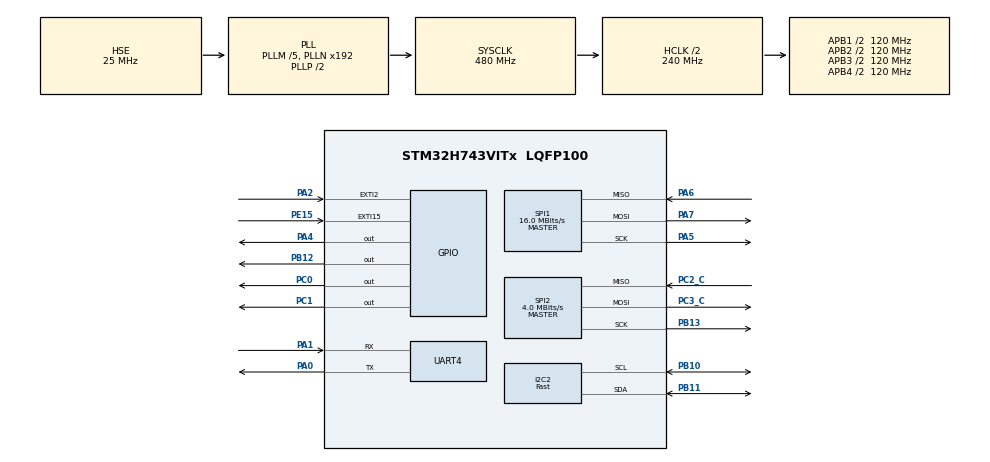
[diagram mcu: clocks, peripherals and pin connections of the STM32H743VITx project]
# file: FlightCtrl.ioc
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CORTEX_M7.CPU_DCache=Enabled
CORTEX_M7.CPU_ICache=Enabled
CORTEX_M7.default_mode_Activation=1
Dma.I2C2_RX.2.Direction=DMA_PERIPH_TO_MEMORY
Dma.I2C2_RX.2.EventEnable=DISABLE
Dma.I2C2_RX.2.FIFOMode=DMA_FIFOMODE_DISABLE
Dma.I2C2_RX.2.Instance=DMA1_Stream2
Dma.I2C2_RX.2.MemDataAlignment=DMA_MDATAALIGN_BYTE
Dma.I2C2_RX.2.MemInc=DMA_MINC_ENABLE
Dma.I2C2_RX.2.Mode=DMA_NORMAL
Dma.I2C2_RX.2.PeriphDataAlignment=DMA_PDATAALIGN_BYTE
Dma.I2C2_RX.2.PeriphInc=DMA_PINC_DISABLE
Dma.I2C2_RX.2.Polarity=HAL_DMAMUX_REQ_GEN_RISING
Dma.I2C2_RX.2.Priority=DMA_PRIORITY_LOW
Dma.I2C2_RX.2.RequestNumber=1
Dma.I2C2_RX.2.SignalID=NONE
Dma.I2C2_RX.2.SyncEnable=DISABLE
Dma.I2C2_RX.2.SyncPolarity=HAL_DMAMUX_SYNC_NO_EVENT
Dma.I2C2_RX.2.SyncRequestNumber=1
Dma.I2C2_RX.2.SyncSignalID=NONE
Dma.I2C2_TX.3.Direction=DMA_MEMORY_TO_PERIPH
Dma.I2C2_TX.3.EventEnable=DISABLE
Dma.I2C2_TX.3.FIFOMode=DMA_FIFOMODE_DISABLE
Dma.I2C2_TX.3.Instance=DMA1_Stream3
Dma.I2C2_TX.3.MemDataAlignment=DMA_MDATAALIGN_BYTE
Dma.I2C2_TX.3.MemInc=DMA_MINC_ENABLE
Dma.I2C2_TX.3.Mode=DMA_NORMAL
Dma.I2C2_TX.3.PeriphDataAlignment=DMA_PDATAALIGN_BYTE
Dma.I2C2_TX.3.PeriphInc=DMA_PINC_DISABLE
Dma.I2C2_TX.3.Polarity=HAL_DMAMUX_REQ_GEN_RISING
Dma.I2C2_TX.3.Priority=DMA_PRIORITY_LOW
Dma.I2C2_TX.3.RequestNumber=1
Dma.I2C2_TX.3.SignalID=NONE
Dma.I2C2_TX.3.SyncEnable=DISABLE
Dma.I2C2_TX.3.SyncPolarity=HAL_DMAMUX_SYNC_NO_EVENT
Dma.I2C2_TX.3.SyncRequestNumber=1
Dma.I2C2_TX.3.SyncSignalID=NONE
Dma.Request0=UART4_RX
Dma.Request1=UART4_TX
Dma.Request2=I2C2_RX
Dma.Request3=I2C2_TX
Dma.Request4=SPI1_RX
Dma.Request5=SPI1_TX
Dma.Request6=SPI2_RX
Dma.Request7=SPI2_TX
Dma.SPI1_RX.4.Direction=DMA_PERIPH_TO_MEMORY
Dma.SPI1_RX.4.EventEnable=DISABLE
Dma.SPI1_RX.4.FIFOMode=DMA_FIFOMODE_DISABLE
Dma.SPI1_RX.4.Instance=DMA1_Stream4
Dma.SPI1_RX.4.MemDataAlignment=DMA_MDATAALIGN_BYTE
Dma.SPI1_RX.4.MemInc=DMA_MINC_ENABLE
Dma.SPI1_RX.4.Mode=DMA_NORMAL
Dma.SPI1_RX.4.PeriphDataAlignment=DMA_PDATAALIGN_BYTE
Dma.SPI1_RX.4.PeriphInc=DMA_PINC_DISABLE
Dma.SPI1_RX.4.Polarity=HAL_DMAMUX_REQ_GEN_RISING
Dma.SPI1_RX.4.Priority=DMA_PRIORITY_LOW
Dma.SPI1_RX.4.RequestNumber=1
Dma.SPI1_RX.4.SignalID=NONE
Dma.SPI1_RX.4.SyncEnable=DISABLE
Dma.SPI1_RX.4.SyncPolarity=HAL_DMAMUX_SYNC_NO_EVENT
Dma.SPI1_RX.4.SyncRequestNumber=1
Dma.SPI1_RX.4.SyncSignalID=NONE
Dma.SPI1_TX.5.Direction=DMA_MEMORY_TO_PERIPH
Dma.SPI1_TX.5.EventEnable=DISABLE
Dma.SPI1_TX.5.FIFOMode=DMA_FIFOMODE_DISABLE
Dma.SPI1_TX.5.Instance=DMA1_Stream5
Dma.SPI1_TX.5.MemDataAlignment=DMA_MDATAALIGN_BYTE
Dma.SPI1_TX.5.MemInc=DMA_MINC_ENABLE
Dma.SPI1_TX.5.Mode=DMA_NORMAL
Dma.SPI1_TX.5.PeriphDataAlignment=DMA_PDATAALIGN_BYTE
Dma.SPI1_TX.5.PeriphInc=DMA_PINC_DISABLE
Dma.SPI1_TX.5.Polarity=HAL_DMAMUX_REQ_GEN_RISING
Dma.SPI1_TX.5.Priority=DMA_PRIORITY_LOW
Dma.SPI1_TX.5.RequestNumber=1
Dma.SPI1_TX.5.SignalID=NONE
Dma.SPI1_TX.5.SyncEnable=DISABLE
Dma.SPI1_TX.5.SyncPolarity=HAL_DMAMUX_SYNC_NO_EVENT
Dma.SPI1_TX.5.SyncRequestNumber=1
Dma.SPI1_TX.5.SyncSignalID=NONE
Dma.SPI2_RX.6.Direction=DMA_PERIPH_TO_MEMORY
Dma.SPI2_RX.6.EventEnable=DISABLE
Dma.SPI2_RX.6.FIFOMode=DMA_FIFOMODE_DISABLE
Dma.SPI2_RX.6.Instance=DMA1_Stream6
Dma.SPI2_RX.6.MemDataAlignment=DMA_MDATAALIGN_BYTE
Dma.SPI2_RX.6.MemInc=DMA_MINC_ENABLE
Dma.SPI2_RX.6.Mode=DMA_NORMAL
Dma.SPI2_RX.6.PeriphDataAlignment=DMA_PDATAALIGN_BYTE
Dma.SPI2_RX.6.PeriphInc=DMA_PINC_DISABLE
Dma.SPI2_RX.6.Polarity=HAL_DMAMUX_REQ_GEN_RISING
Dma.SPI2_RX.6.Priority=DMA_PRIORITY_LOW
Dma.SPI2_RX.6.RequestNumber=1
Dma.SPI2_RX.6.SignalID=NONE
Dma.SPI2_RX.6.SyncEnable=DISABLE
Dma.SPI2_RX.6.SyncPolarity=HAL_DMAMUX_SYNC_NO_EVENT
Dma.SPI2_RX.6.SyncRequestNumber=1
Dma.SPI2_RX.6.SyncSignalID=NONE
Dma.SPI2_TX.7.Direction=DMA_MEMORY_TO_PERIPH
Dma.SPI2_TX.7.EventEnable=DISABLE
Dma.SPI2_TX.7.FIFOMode=DMA_FIFOMODE_DISABLE
Dma.SPI2_TX.7.Instance=DMA1_Stream7
Dma.SPI2_TX.7.MemDataAlignment=DMA_MDATAALIGN_BYTE
Dma.SPI2_TX.7.MemInc=DMA_MINC_ENABLE
Dma.SPI2_TX.7.Mode=DMA_NORMAL
Dma.SPI2_TX.7.PeriphDataAlignment=DMA_PDATAALIGN_BYTE
Dma.SPI2_TX.7.PeriphInc=DMA_PINC_DISABLE
Dma.SPI2_TX.7.Polarity=HAL_DMAMUX_REQ_GEN_RISING
Dma.SPI2_TX.7.Priority=DMA_PRIORITY_LOW
Dma.SPI2_TX.7.RequestNumber=1
Dma.SPI2_TX.7.SignalID=NONE
Dma.SPI2_TX.7.SyncEnable=DISABLE
Dma.SPI2_TX.7.SyncPolarity=HAL_DMAMUX_SYNC_NO_EVENT
Dma.SPI2_TX.7.SyncRequestNumber=1
Dma.SPI2_TX.7.SyncSignalID=NONE
Dma.UART4_RX.0.Direction=DMA_PERIPH_TO_MEMORY
Dma.UART4_RX.0.EventEnable=DISABLE
Dma.UART4_RX.0.FIFOMode=DMA_FIFOMODE_DISABLE
Dma.UART4_RX.0.Instance=DMA1_Stream0
Dma.UART4_RX.0.MemDataAlignment=DMA_MDATAALIGN_BYTE
Dma.UART4_RX.0.MemInc=DMA_MINC_ENABLE
Dma.UART4_RX.0.Mode=DMA_NORMAL
Dma.UART4_RX.0.PeriphDataAlignment=DMA_PDATAALIGN_BYTE
Dma.UART4_RX.0.PeriphInc=DMA_PINC_DISABLE
Dma.UART4_RX.0.Polarity=HAL_DMAMUX_REQ_GEN_RISING
Dma.UART4_RX.0.Priority=DMA_PRIORITY_LOW
Dma.UART4_RX.0.RequestNumber=1
Dma.UART4_RX.0.SignalID=NONE
Dma.UART4_RX.0.SyncEnable=DISABLE
Dma.UART4_RX.0.SyncPolarity=HAL_DMAMUX_SYNC_NO_EVENT
Dma.UART4_RX.0.SyncRequestNumber=1
Dma.UART4_RX.0.SyncSignalID=NONE
Dma.UART4_TX.1.Direction=DMA_MEMORY_TO_PERIPH
Dma.UART4_TX.1.EventEnable=DISABLE
Dma.UART4_TX.1.FIFOMode=DMA_FIFOMODE_DISABLE
Dma.UART4_TX.1.Instance=DMA1_Stream1
Dma.UART4_TX.1.MemDataAlignment=DMA_MDATAALIGN_BYTE
Dma.UART4_TX.1.MemInc=DMA_MINC_ENABLE
Dma.UART4_TX.1.Mode=DMA_NORMAL
Dma.UART4_TX.1.PeriphDataAlignment=DMA_PDATAALIGN_BYTE
Dma.UART4_TX.1.PeriphInc=DMA_PINC_DISABLE
Dma.UART4_TX.1.Polarity=HAL_DMAMUX_REQ_GEN_RISING
Dma.UART4_TX.1.Priority=DMA_PRIORITY_LOW
Dma.UART4_TX.1.RequestNumber=1
Dma.UART4_TX.1.SignalID=NONE
Dma.UART4_TX.1.SyncEnable=DISABLE
Dma.UART4_TX.1.SyncPolarity=HAL_DMAMUX_SYNC_NO_EVENT
Dma.UART4_TX.1.SyncRequestNumber=1
Dma.UART4_TX.1.SyncSignalID=NONE
I2C2.I2C_Speed_Mode=I2C_Fast
I2C2.Timing=0x00B03FDB
Mcu.Family=STM32H7
Mcu.Name=STM32H743VITx
Mcu.Package=LQFP100
NVIC.DMA1_Stream0_IRQn=true\:0\:0\:false\:false\:true\:false\:true\:true
NVIC.DMA1_Stream1_IRQn=true\:0\:0\:false\:false\:true\:false\:true\:true
NVIC.DMA1_Stream2_IRQn=true\:0\:0\:false\:false\:true\:false\:true\:true
NVIC.DMA1_Stream3_IRQn=true\:0\:0\:false\:false\:true\:false\:true\:true
NVIC.DMA1_Stream4_IRQn=true\:0\:0\:false\:false\:true\:false\:true\:true
NVIC.DMA1_Stream5_IRQn=true\:0\:0\:false\:false\:true\:false\:true\:true
NVIC.DMA1_Stream6_IRQn=true\:0\:0\:false\:false\:true\:false\:true\:true
NVIC.DMA1_Stream7_IRQn=true\:0\:0\:false\:false\:true\:false\:true\:true
NVIC.EXTI15_10_IRQn=true\:2\:0\:true\:false\:true\:true\:true\:true
NVIC.EXTI2_IRQn=true\:1\:0\:true\:false\:true\:true\:true\:true
NVIC.I2C2_EV_IRQn=true\:3\:0\:true\:false\:true\:true\:true\:true
NVIC.PriorityGroup=NVIC_PRIORITYGROUP_4
NVIC.SPI1_IRQn=true\:5\:0\:true\:false\:true\:true\:true\:true
NVIC.SPI2_IRQn=true\:0\:0\:false\:false\:true\:false\:true\:true
NVIC.TIM2_IRQn=true\:6\:0\:true\:false\:true\:true\:true\:true
NVIC.TIM3_IRQn=true\:0\:0\:true\:false\:true\:true\:true\:true
NVIC.UART4_IRQn=true\:4\:0\:true\:false\:true\:true\:true\:true
PA0.Mode=Asynchronous
PA0.Signal=UART4_TX
PA1.Mode=Asynchronous
PA1.Signal=UART4_RX
PA2.Signal=GPXTI2
PA4.GPIO_PuPd=GPIO_PULLDOWN
PA4.Signal=GPIO_Output
PA5.Mode=Full_Duplex_Master
PA5.Signal=SPI1_SCK
PA6.Mode=Full_Duplex_Master
PA6.Signal=SPI1_MISO
PA7.Mode=Full_Duplex_Master
PA7.Signal=SPI1_MOSI
PB10.GPIO_Pu=GPIO_PULLUP
PB10.Mode=I2C
PB10.Signal=I2C2_SCL
PB11.GPIO_Pu=GPIO_PULLUP
PB11.Mode=I2C
PB11.Signal=I2C2_SDA
PB12.GPIO_PuPd=GPIO_PULLUP
PB12.Signal=GPIO_Output
PB13.Mode=Full_Duplex_Master
PB13.Signal=SPI2_SCK
PC0.Signal=GPIO_Output
PC1.Signal=GPIO_Output
PC2_C.Mode=Full_Duplex_Master
PC2_C.Signal=SPI2_MISO
PC3_C.Mode=Full_Duplex_Master
PC3_C.Signal=SPI2_MOSI
PE15.Signal=GPXTI15
PH0-OSC_IN\ (PH0).Mode=HSE-External-Oscillator
PH0-OSC_IN\ (PH0).Signal=RCC_OSC_IN
PH1-OSC_OUT\ (PH1).Mode=HSE-External-Oscillator
PH1-OSC_OUT\ (PH1).Signal=RCC_OSC_OUT
ProjectManager.HeapSize=0x2000
ProjectManager.StackSize=0x4000
ProjectManager.TargetToolchain=CMake
RCC.ADCFreq_Value=50390625
RCC.APB1Freq_Value=120000000
RCC.APB2Freq_Value=120000000
RCC.APB3Freq_Value=120000000
RCC.APB4Freq_Value=120000000
RCC.CortexFreq_Value=480000000
RCC.D1PPRE=RCC_APB3_DIV2
RCC.D2PPRE1=RCC_APB1_DIV2
RCC.D2PPRE2=RCC_APB2_DIV2
RCC.D3PPRE=RCC_APB4_DIV2
RCC.DIVM1=5
RCC.DIVN1=192
RCC.HCLKFreq_Value=240000000
RCC.HPRE=RCC_HCLK_DIV2
RCC.PLLSourceVirtual=RCC_PLLSOURCE_HSE
RCC.SPI123CLockSelection=RCC_SPI123CLKSOURCE_CLKP
RCC.SYSCLKFreq_VALUE=480000000
RCC.SYSCLKSource=RCC_SYSCLKSOURCE_PLLCLK
RCC.USBFreq_Value=480000000
SPI1.BaudRatePrescaler=SPI_BAUDRATEPRESCALER_4
SPI1.CLKPhase=SPI_PHASE_2EDGE
SPI1.CLKPolarity=SPI_POLARITY_HIGH
SPI1.CalculateBaudRate=16.0 MBits/s
SPI1.DataSize=SPI_DATASIZE_8BIT
SPI1.Direction=SPI_DIRECTION_2LINES
SPI1.Mode=SPI_MODE_MASTER
SPI1.VirtualType=VM_MASTER
SPI2.BaudRatePrescaler=SPI_BAUDRATEPRESCALER_16
SPI2.CalculateBaudRate=4.0 MBits/s
SPI2.DataSize=SPI_DATASIZE_8BIT
SPI2.Direction=SPI_DIRECTION_2LINES
SPI2.Mode=SPI_MODE_MASTER
SPI2.VirtualType=VM_MASTER
TIM2.Period=4
TIM3.Period=1000
TIM3.Prescaler=239
TIM3.TIM_MasterOutputTrigger=TIM_TRGO_UPDATE
TIM5.Period=0xFFFFFFFF
TIM5.Prescaler=239
VP_MEMORYMAP_VS_MEMORYMAP.Mode=CurAppReg
VP_TIM2_VS_ClockSourceITR.Mode=TriggerSource_ITR2
VP_TIM2_VS_ControllerModeClock.Mode=Clock Mode
VP_TIM3_VS_ClockSourceINT.Mode=Internal
VP_TIM5_VS_ClockSourceINT.Mode=Internal
board=custom

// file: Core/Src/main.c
/* USER CODE BEGIN Header */
/**
  ******************************************************************************
  * @file           : main.c
  * @brief          : Main program body
  ******************************************************************************
  * @attention
  *
  * Copyright (c) 2026 STMicroelectronics.
  * All rights reserved.
  *
  * This software is licensed under terms that can be found in the LICENSE file
  * in the root directory of this software component.
  * If no LICENSE file comes with this software, it is provided AS-IS.
  *
  ******************************************************************************
  */
/* USER CODE END Header */
#include "main.h"
#include "dma.h"
#include "i2c.h"
#include "spi.h"
#include "tim.h"
#include "usart.h"
#include "gpio.h"

/* USER CODE BEGIN Includes */
#include <string.h>
#include "ESKF.h"
/* USER CODE END Includes */

/* USER CODE BEGIN PTD */
typedef struct {
  float gyro_x;
  float gyro_y;
  float gyro_z;
  float accel_x;
  float accel_y;
  float accel_z;
  uint32_t timestamp;
}imu_data_t;

typedef struct{
  imu_data_t data[50];
  uint8_t write_idx;
}imu_buf_t;

#pragma pack(push, 1)   // 关键：1 字节对齐，禁止编译器插 padding

typedef struct
{
  uint32_t iTOW;      // [ms] GPS 时间周内秒
  uint16_t year;      // 年，如 2026
  uint8_t  month;     // 月 1..12
  uint8_t  day;       // 日 1..31
  uint8_t  hour;      // 时 0..23
  uint8_t  min;       // 分 0..59
  uint8_t  sec;       // 秒 0..60
  uint8_t  valid;     // 有效性标志
  uint32_t tAcc;      // [ns] 时间精度

  int32_t  nano;      // [ns] 纳秒部分（-1e9..+1e9）

  uint8_t  fixType;   // 定位类型：0=无，3=3D，4=GNSS+DR
  uint8_t  flags;     // 定位标志
  uint8_t  flags2;
  uint8_t  numSV;     // 使用卫星数

  int32_t  lon;       // [1e-7 °] 经度
  int32_t  lat;       // [1e-7 °] 纬度
  int32_t  height;    // [mm] 椭球高
  int32_t  hMSL;      // [mm] 海拔高

  uint32_t hAcc;      // [mm] 水平精度
  uint32_t vAcc;      // [mm] 垂直精度

  int32_t  velN;      // [mm/s] 北向速度
  int32_t  velE;      // [mm/s] 东向速度
  int32_t  velD;      // [mm/s] 地向速度（向下为正）
  int32_t  gSpeed;    // [mm/s] 地面速率

  int32_t  headMot;   // [1e-5 °] 运动航向
  uint32_t sAcc;      // [mm/s] 速度精度

  uint32_t headAcc;   // [1e-5 °] 航向精度
  uint16_t pDOP;      // [0.01] 位置 DOP

  uint8_t  reserved1[6];

  int32_t  headVeh;   // [1e-5 °] 车头方向（仅车载模式）
  int16_t  magDec;    // [0.01 °] 磁偏角
  uint16_t magAcc;    // [0.01 °] 磁偏角精度
} UBX_NAV_PVT_t;

#pragma pack(pop)

typedef struct {
  float mag_x;
  float mag_y;
  float mag_z;
  uint32_t timestamp;
}mag_data_t;

typedef struct {
  float prop1;
  float prop2;
  float prop3;
  float prop4;
}prop_speed_cmd_t;

typedef struct {
  float x;
  float y;
  float z;
}omega_cmd_t;

typedef struct {
  int32_t pressure;
  uint32_t timestamp;
}baro_data_t;

typedef struct {
  baro_data_t data[50];
  uint8_t write_idx;
}baro_buf_t;

typedef struct {
  mag_data_t data[50];
  uint8_t write_idx;
}mag_buf_t;
/* USER CODE END PTD */

/* USER CODE BEGIN PM */
#define ICM45686_CS_PORT GPIOA
#define ICM45686_CS_PIN GPIO_PIN_4
#define ICM_REG_WHO_AM_I        0x72                          //dv
#define ICM_WHOAMI_VALUE        0xE9                          //dv
#define ICM_REG_MISC2           0x7F                          //dv
#define ICM_RESET               0x02                          //???
#define ICM_REG_ACCEL_CONFIG    0x1B                          //dv
#define ICM_REG_PWR_MGMT0       0x10                          //dv
#define ICM_REG_GYRO_CONFIG0    0x1C                          //dv
#define ICM_REG_ACCEL_X_UPPER   0x00                          //dv
#define ICM_SREG_CTRL           0x67                          //dv

#define GYRO_UI_FS_SEL_4000DPS  0x00                          //dv
#define GYRO_UI_FS_SEL_2000DPS  0x01                          //dv
#define GYRO_UI_FS_SEL_1000DPS  0x02                          //dv
#define GYRO_UI_FS_SEL_500DPS   0x03                          //dv
#define GYRO_UI_FS_SEL_250DPS   0x04                          //dv
#define GYRO_UI_FS_SEL_125DPS   0x05                          //dv
#define GYRO_ODR_6400Hz         0x03                          //dv
#define GYRO_ODR_3200Hz         0x04                          //dv
#define GYRO_ODR_1600Hz         0x05                          //dv
#define GYRO_ODR_800Hz          0x06                          //dv
#define GYRO_ODR_400Hz          0x07                          //dv
#define GYRO_ODR_200Hz          0x08                          //dv
#define GYRO_ODR_100Hz          0x09                          //dv
#define GYRO_ODR_50Hz           0x0A                          //dv
#define GYRO_ODR_25Hz           0x0B                          //dv
#define GYRO_ODR_12_5Hz         0x0C                          //dv
#define GYRO_ODR_6_25Hz         0x0D                          //dv

#define ACCEL_UI_FS_SEL_32G     0x00                          //dv
#define ACCEL_UI_FS_SEL_16G     0x01                          //dv
#define ACCEL_UI_FS_SEL_8G      0x02                          //dv
#define ACCEL_UI_FS_SEL_4G      0x03                          //dv
#define ACCEL_UI_FS_SEL_2G      0x04                          //dv
#define ACCEL_ODR_6400Hz        0x03                          //dv
#define ACCEL_ODR_3200Hz        0x04                          //dv
#define ACCEL_ODR_1600Hz        0x05                          //dv
#define ACCEL_ODR_800Hz         0x06                          //dv
#define ACCEL_ODR_400Hz         0x07                          //dv
#define ACCEL_ODR_200Hz         0x08                          //dv
#define ACCEL_ODR_100Hz         0x09                          //dv
#define ACCEL_ODR_50Hz          0x0A                          //dv
#define ACCEL_ODR_25Hz          0x0B                          //dv
#define ACCEL_ODR_12_5Hz        0x0C                          //dv

#define IST_DEV_ADDR            0x0E                          //dv
#define IST_WHO_AM_I_ADDR       0x00                          //dv
#define IST_CHIP_ID             0x10                          //dv
#define IST_REG_CNTRL1          0x0A                          //dv
#define IST_REG_CNTRL2          0x0B                          //dv
#define IST_MAG_X_LOW           0x03                          //dv

#define BMP581_CHIP_ID_ADDR     0x01                          //dv
#define BMP581_CHIP_ID          0x50                          //dv
#define BMP581_STATUS           0x28                          //dv
#define BMP581_OSR_CONFIG       0x36                          //dv
#define BMP581_ODR_CONFIG       0x37                          //dv
#define BMP581_CMD              0x7E                          //dv
#define BMP581_RESET            0xB6                          //dv
#define BMP581_INT_SOURCE       0x15                          //dv
#define BMP581_INT_CONFIG       0x14                          //dv
#define BMP581_PRESSURE_XLSB    0x20                          //dv
#define BMP581_INT_MOD_PULSE    0x00                          //dv
#define BMP581_INT_MOD_LATCH    0x01                          //dv
#define BMP581_INT_POL_LOW      0x00                          //dv
#define BMP581_INT_POL_HIGH     0x01                          //dv
#define BMP581_INT_STATUS       0x27                          //dv

#define MAG_BUF_LEN             0x32                          //dv
#define GPS_BUF_LEN             0x03                          //dv
#define IMU_BUF_LEN             0x32                          //dv
#define BARO_BUF_LEN            0x32                          //dv
/* USER CODE END PM */

/* USER CODE BEGIN PV */
imu_buf_t imu_buf;
baro_buf_t baro_buf;
mag_buf_t mag_buf;
UBX_NAV_PVT_t pvt[GPS_BUF_LEN] = {0};
uint8_t uart4_rx_data_dma[512] __attribute__((section(".dma_buffer")));
uint8_t temp2 = 0;
uint8_t temp3 = 0;
uint8_t temp4 = 0;
uint8_t IST_Init_ret = 0;
uint8_t i2c2_tx_data_dma __attribute__((section(".dma_buffer"))) = {0};
uint8_t i2c2_rx_data_dma[6] __attribute__((section(".dma_buffer"))) = {0};
uint8_t spi1_tx_data_dma[13] __attribute__((section(".dma_buffer")))= {0};
uint8_t spi1_rx_data_dma[13] __attribute__((section(".dma_buffer")))= {0};
uint8_t spi2_tx_data_dma[4] __attribute__((section(".dma_buffer")))= {0};
uint8_t spi2_rx_data_dma[4] __attribute__((section(".dma_buffer")))= {0};
prop_speed_cmd_t prop_speed_cmd = {0};
omega_cmd_t omega_cmd = {0};
uint32_t gps_timestamp = 0;
/* USER CODE END PV */

void SystemClock_Config(void);
void PeriphCommonClock_Config(void);
static void MPU_Config(void);
/* USER CODE BEGIN PFP */
uint8_t ICM45686_ReadReg(uint8_t addr, uint8_t *val);
uint8_t ICM45686_WriteReg(uint8_t addr, uint8_t val);
uint8_t ICM45686_Init(void);
uint8_t IST8310_Init(void);
uint8_t BMP581_Init(void);
void omega_ctrl(omega_cmd_t* omega_cmd,prop_speed_cmd_t* p);
uint8_t BMP581_ReadReg(uint8_t reg_addr,uint8_t* reg_data);
uint8_t BMP581_WriteReg(uint8_t reg_addr,uint8_t reg_data);

/* USER CODE END PFP */

int main(void)
{

  /* MPU Configuration--------------------------------------------------------*/
  MPU_Config();

  /* Enable the CPU Cache */

  /* Enable I-Cache---------------------------------------------------------*/
  SCB_EnableICache();

  /* Enable D-Cache---------------------------------------------------------*/
  SCB_EnableDCache();

  /* MCU Configuration--------------------------------------------------------*/

  /* Reset of all peripherals, Initializes the Flash interface and the Systick. */
  HAL_Init();

  /* Configure the system clock */
  SystemClock_Config();

  /* Configure the peripherals common clocks */
  PeriphCommonClock_Config();

  /* Initialize all configured peripherals */
  MX_GPIO_Init();
  MX_DMA_Init();
  MX_SPI1_Init();
  MX_UART4_Init();
  MX_I2C2_Init();
  MX_TIM5_Init();
  MX_TIM3_Init();
  MX_TIM2_Init();
  MX_SPI2_Init();
  /* USER CODE BEGIN 2 */
  ICM45686_Init();
  IST_Init_ret = IST8310_Init();
  BMP581_Init();
  HAL_Delay(1000);
  HAL_TIM_Base_Start(&htim5);
  HAL_TIM_Base_Start_IT(&htim3);
  HAL_TIM_Base_Start_IT(&htim2);
  HAL_UARTEx_ReceiveToIdle_DMA(&huart4,uart4_rx_data_dma,512);

  /* USER CODE END 2 */

  /* Infinite loop */
  while (1)
  {

  }
}

void SystemClock_Config(void)
{
  RCC_OscInitTypeDef RCC_OscInitStruct = {0};
  RCC_ClkInitTypeDef RCC_ClkInitStruct = {0};

  /** Supply configuration update enable
  */
  HAL_PWREx_ConfigSupply(PWR_LDO_SUPPLY);

  /** Configure the main internal regulator output voltage
  */
  __HAL_PWR_VOLTAGESCALING_CONFIG(PWR_REGULATOR_VOLTAGE_SCALE0);

  while(!__HAL_PWR_GET_FLAG(PWR_FLAG_VOSRDY)) {}

  /** Initializes the RCC Oscillators according to the specified parameters
  * in the RCC_OscInitTypeDef structure.
  */
  RCC_OscInitStruct.OscillatorType = RCC_OSCILLATORTYPE_HSI|RCC_OSCILLATORTYPE_HSE;
  RCC_OscInitStruct.HSEState = RCC_HSE_ON;
  RCC_OscInitStruct.HSIState = RCC_HSI_DIV1;
  RCC_OscInitStruct.HSICalibrationValue = RCC_HSICALIBRATION_DEFAULT;
  RCC_OscInitStruct.PLL.PLLState = RCC_PLL_ON;
  RCC_OscInitStruct.PLL.PLLSource = RCC_PLLSOURCE_HSE;
  RCC_OscInitStruct.PLL.PLLM = 5;
  RCC_OscInitStruct.PLL.PLLN = 192;
  RCC_OscInitStruct.PLL.PLLP = 2;
  RCC_OscInitStruct.PLL.PLLQ = 2;
  RCC_OscInitStruct.PLL.PLLR = 2;
  RCC_OscInitStruct.PLL.PLLRGE = RCC_PLL1VCIRANGE_2;
  RCC_OscInitStruct.PLL.PLLVCOSEL = RCC_PLL1VCOWIDE;
  RCC_OscInitStruct.PLL.PLLFRACN = 0;
  if (HAL_RCC_OscConfig(&RCC_OscInitStruct) != HAL_OK)
  {
    Error_Handler();
  }

  /** Initializes the CPU, AHB and APB buses clocks
  */
  RCC_ClkInitStruct.ClockType = RCC_CLOCKTYPE_HCLK|RCC_CLOCKTYPE_SYSCLK
                              |RCC_CLOCKTYPE_PCLK1|RCC_CLOCKTYPE_PCLK2
                              |RCC_CLOCKTYPE_D3PCLK1|RCC_CLOCKTYPE_D1PCLK1;
  RCC_ClkInitStruct.SYSCLKSource = RCC_SYSCLKSOURCE_PLLCLK;
  RCC_ClkInitStruct.SYSCLKDivider = RCC_SYSCLK_DIV1;
  RCC_ClkInitStruct.AHBCLKDivider = RCC_HCLK_DIV2;
  RCC_ClkInitStruct.APB3CLKDivider = RCC_APB3_DIV2;
  RCC_ClkInitStruct.APB1CLKDivider = RCC_APB1_DIV2;
  RCC_ClkInitStruct.APB2CLKDivider = RCC_APB2_DIV2;
  RCC_ClkInitStruct.APB4CLKDivider = RCC_APB4_DIV2;

  if (HAL_RCC_ClockConfig(&RCC_ClkInitStruct, FLASH_LATENCY_4) != HAL_OK)
  {
    Error_Handler();
  }
}

void PeriphCommonClock_Config(void)
{
  RCC_PeriphCLKInitTypeDef PeriphClkInitStruct = {0};

  /** Initializes the peripherals clock
  */
  PeriphClkInitStruct.PeriphClockSelection = RCC_PERIPHCLK_CKPER;
  PeriphClkInitStruct.CkperClockSelection = RCC_CLKPSOURCE_HSI;
  if (HAL_RCCEx_PeriphCLKConfig(&PeriphClkInitStruct) != HAL_OK)
  {
    Error_Handler();
  }
}

/* USER CODE BEGIN 4 */
void HAL_TIM_PeriodElapsedCallback(TIM_HandleTypeDef *htim)
{
  if (htim->Instance == TIM3)
  {
    /// 读取IMU数据
    spi1_tx_data_dma[0] = ICM_REG_ACCEL_X_UPPER | 0x80;
    imu_buf.data[imu_buf.write_idx].timestamp = __HAL_TIM_GET_COUNTER(&htim5);
    HAL_GPIO_WritePin(ICM45686_CS_PORT,ICM45686_CS_PIN,GPIO_PIN_RESET);
    HAL_SPI_TransmitReceive_DMA(&hspi1, spi1_tx_data_dma, spi1_rx_data_dma, 13);

    // 读取气压计数据
    baro_buf.data[baro_buf.write_idx].timestamp = __HAL_TIM_GET_COUNTER(&htim5);
    spi2_tx_data_dma[0] = BMP581_PRESSURE_XLSB | 0x80;
    HAL_GPIO_WritePin(GPIOB, GPIO_PIN_12, GPIO_PIN_RESET);
    HAL_SPI_TransmitReceive_DMA(&hspi2, spi2_tx_data_dma, spi2_rx_data_dma, 4);
  }
  if (htim->Instance == TIM2)
  {
    //todo:ESKF()
    HAL_GPIO_WritePin(GPIOC, GPIO_PIN_0, GPIO_PIN_SET);
    static float meas[9];
    static float imu[6];
    eskf(meas, imu);
    HAL_GPIO_WritePin(GPIOC, GPIO_PIN_0, GPIO_PIN_RESET);
  }
}

void HAL_SPI_TxRxCpltCallback(SPI_HandleTypeDef *hspi)
{
  if (hspi->Instance == SPI1)
  {
    HAL_GPIO_WritePin(ICM45686_CS_PORT,ICM45686_CS_PIN,GPIO_PIN_SET);
    imu_buf.data[imu_buf.write_idx].accel_x = (int16_t)(spi1_rx_data_dma[2]<<8 | spi1_rx_data_dma[1])/4096.f;
    imu_buf.data[imu_buf.write_idx].accel_y = (int16_t)(spi1_rx_data_dma[4]<<8 | spi1_rx_data_dma[3])/4096.f;
    imu_buf.data[imu_buf.write_idx].accel_z = (int16_t)(spi1_rx_data_dma[6]<<8 | spi1_rx_data_dma[5])/4096.f;
    imu_buf.data[imu_buf.write_idx].gyro_x = (int16_t)(spi1_rx_data_dma[8]<<8 | spi1_rx_data_dma[7])/32768.f*2000.f/180.f*M_PI;
    imu_buf.data[imu_buf.write_idx].gyro_y = (int16_t)(spi1_rx_data_dma[10]<<8 | spi1_rx_data_dma[9])/32768.f*2000.f/180.f*M_PI;
    imu_buf.data[imu_buf.write_idx].gyro_z = (int16_t)(spi1_rx_data_dma[12]<<8 | spi1_rx_data_dma[11])/32768.f*2000.f/180.f*M_PI;
    imu_buf.write_idx = (imu_buf.write_idx + 1)%IMU_BUF_LEN;

    omega_ctrl(&omega_cmd,&prop_speed_cmd);
  }
  if (hspi->Instance == SPI2) {
    HAL_GPIO_WritePin(GPIOB, GPIO_PIN_12, GPIO_PIN_SET);
    baro_buf.data[baro_buf.write_idx].pressure = spi2_rx_data_dma[3]<<16 | spi2_rx_data_dma[2]<<8 | spi2_rx_data_dma[1];
    if (baro_buf.data[baro_buf.write_idx].pressure & 0x800000) {
      baro_buf.data[baro_buf.write_idx].pressure |= 0xFF000000;
    }
    baro_buf.write_idx = (baro_buf.write_idx + 1)%BARO_BUF_LEN;
  }
}

uint8_t ICM45686_Init(void)
{
  uint8_t reg_val = 0;                                                                             //dv
  if (ICM45686_ReadReg(ICM_REG_WHO_AM_I, &reg_val) != 0 || reg_val != ICM_WHOAMI_VALUE)       //dv
    return 1;                                                                                      //dv
  ICM45686_WriteReg(ICM_REG_MISC2, ICM_RESET);                                            //dv
  do {                                                                                             //dv
    if (ICM45686_ReadReg(ICM_REG_MISC2, &reg_val) != 0)                                       //dv
      return 1;                                                                                    //dv
  } while (reg_val & 0x02);                                                                        //dv
  // ICM45686_WriteReg(ICM_REG_PWR_MGMT_1, ICM_CLOCK_AUTO);                                        //???
  HAL_Delay(30);

  ICM45686_WriteReg(ICM_REG_PWR_MGMT0,0x0F);
  HAL_Delay(30);

  ICM45686_WriteReg(ICM_REG_ACCEL_CONFIG, (uint8_t)(ACCEL_UI_FS_SEL_8G << 4 | ACCEL_ODR_6400Hz));
  HAL_Delay(30);

  ICM45686_WriteReg(ICM_REG_GYRO_CONFIG0,(uint8_t)(GYRO_UI_FS_SEL_2000DPS << 4 | GYRO_ODR_6400Hz));

  return 0;                                                                                        //dv
}

uint8_t ICM45686_ReadReg(uint8_t addr, uint8_t *val)  //dv
{
  uint8_t tx_buf[2];                                  //dv
  uint8_t rx_buf[2];                                  //dv
  tx_buf[0] = addr | 0x80;                            //dv
  tx_buf[1] = 0x00;                                   //dv
  HAL_GPIO_WritePin(ICM45686_CS_PORT,ICM45686_CS_PIN,GPIO_PIN_RESET);                       //dv
  if (HAL_SPI_TransmitReceive(&hspi1, tx_buf, rx_buf, 2, HAL_MAX_DELAY) != HAL_OK)      //dv
  {
    HAL_GPIO_WritePin(ICM45686_CS_PORT,ICM45686_CS_PIN,GPIO_PIN_SET);                       //dv
    return 1;                                                                                       //dv
  }
  HAL_GPIO_WritePin(ICM45686_CS_PORT,ICM45686_CS_PIN,GPIO_PIN_SET);                         //dv
  *val = rx_buf[1];                                                                                 //dv
  return 0;                                                                                         //dv
}

uint8_t ICM45686_WriteReg(uint8_t addr, uint8_t val)                              //dv
{
  uint8_t tx_buf[2] = { addr & 0x7F, val };                                       //dv
  uint8_t rx_buf[2];                                                              //dv

  HAL_GPIO_WritePin(ICM45686_CS_PORT,ICM45686_CS_PIN,GPIO_PIN_RESET);     //dv
  if(HAL_SPI_TransmitReceive(&hspi1, tx_buf, rx_buf, 2, HAL_MAX_DELAY) != HAL_OK)
  {
    HAL_GPIO_WritePin(ICM45686_CS_PORT,ICM45686_CS_PIN,GPIO_PIN_SET);       //dv
    return 1;
  }
  HAL_GPIO_WritePin(ICM45686_CS_PORT,ICM45686_CS_PIN,GPIO_PIN_SET);       //dv
  return 0;
}

void HAL_UARTEx_RxEventCallback(UART_HandleTypeDef *huart, uint16_t Size)
{
  if(huart->Instance == UART4)
  {
    // HAL_GPIO_WritePin(GPIOC, GPIO_PIN_0,GPIO_PIN_SET);
    if (uart4_rx_data_dma[0] == 0xB5 && uart4_rx_data_dma[1] == 0x62)
    {
      if (uart4_rx_data_dma[2] == 0x01 && uart4_rx_data_dma[3] == 0x07)
      {
        memcpy(&(pvt[0]), &uart4_rx_data_dma[6], sizeof(UBX_NAV_PVT_t));
      }
    }
    // HAL_GPIO_WritePin(GPIOC, GPIO_PIN_0,GPIO_PIN_RESET);
    HAL_UARTEx_ReceiveToIdle_DMA(&huart4,uart4_rx_data_dma,512);
  }
}

void HAL_UART_ErrorCallback(UART_HandleTypeDef *huart)
{
  if(huart->Instance == UART4)
  {
    // uint32_t err = HAL_UART_GetError(huart);

    HAL_UART_DMAStop(huart);
    __HAL_UART_CLEAR_FLAG(huart, UART_CLEAR_OREF | UART_CLEAR_NEF | UART_CLEAR_FEF | UART_CLEAR_PEF);

    // 复位 HAL 库内部的串口状态（非常重要！否则库会一直认为串口处于 BUSY 状态）
    huart->ErrorCode = HAL_UART_ERROR_NONE;
    huart->gState = HAL_UART_STATE_READY;
    huart->RxState = HAL_UART_STATE_READY;

    HAL_UARTEx_ReceiveToIdle_DMA(&huart4,uart4_rx_data_dma,512);
  }
}

uint8_t IST8310_Init(void)
{
  uint8_t reg_val = 0;
  if (HAL_I2C_Mem_Read(&hi2c2,IST_DEV_ADDR << 1,IST_WHO_AM_I_ADDR,\
    I2C_MEMADD_SIZE_8BIT,&reg_val,1,1000) != HAL_OK)
  {
    return 1;
  }
  else
  {
    if (reg_val != IST_CHIP_ID)
      return 2;
    else {
      reg_val = 0x01;
      HAL_I2C_Mem_Write(&hi2c2,IST_DEV_ADDR << 1,IST_REG_CNTRL1,\
        I2C_MEMADD_SIZE_8BIT,&reg_val,1,1000);

      return 0;
    }
  }
}

void HAL_GPIO_EXTI_Callback(uint16_t GPIO_Pin)
{
  if (GPIO_Pin == GPIO_PIN_15)
  {
    mag_buf.data[mag_buf.write_idx].timestamp = __HAL_TIM_GET_COUNTER(&htim5);
    HAL_I2C_Mem_Read_DMA(&hi2c2,IST_DEV_ADDR << 1,IST_MAG_X_LOW,\
    I2C_MEMADD_SIZE_8BIT,i2c2_rx_data_dma,6);
  }

  if (GPIO_Pin == GPIO_PIN_2)
  {
    gps_timestamp = __HAL_TIM_GET_COUNTER(&htim5);
  }
}

void HAL_I2C_MemRxCpltCallback(I2C_HandleTypeDef *hi2c)
{
  if (hi2c->Instance == I2C2)
  {
    i2c2_tx_data_dma = 0x01;
    HAL_I2C_Mem_Write_DMA(&hi2c2,IST_DEV_ADDR << 1,IST_REG_CNTRL1,\
      I2C_MEMADD_SIZE_8BIT,&i2c2_tx_data_dma,1);

    mag_buf.data[mag_buf.write_idx].mag_x = ((int16_t)(i2c2_rx_data_dma[1]<<8 | i2c2_rx_data_dma[0]));
    mag_buf.data[mag_buf.write_idx].mag_y = ((int16_t)(i2c2_rx_data_dma[3]<<8 | i2c2_rx_data_dma[2]));
    mag_buf.data[mag_buf.write_idx].mag_z = -((int16_t)(i2c2_rx_data_dma[5]<<8 | i2c2_rx_data_dma[4]));
    mag_buf.write_idx = (mag_buf.write_idx + 1)%MAG_BUF_LEN;
  }
}

void omega_ctrl(omega_cmd_t* omega_cmd,prop_speed_cmd_t* p)
{
  // todo:由机身角速度指令计算螺旋桨指令
  p->prop1 = 0;
  p->prop2 = 0;
  p->prop3 = 0;
  p->prop4 = 0;
}

uint8_t BMP581_Init(void)
{
  HAL_Delay(2);
  uint8_t reg_val = 0;
  if (BMP581_ReadReg(BMP581_CHIP_ID_ADDR,&reg_val) != 0)
  {
    return 1;
  }
  if (reg_val != BMP581_CHIP_ID) {
    return 2;
  }

  if (BMP581_ReadReg(BMP581_STATUS,&reg_val)!=HAL_OK) {
    return 4;
  };
  if ((reg_val & 0x04)) {
    return 6;
  }

  BMP581_WriteReg(BMP581_INT_SOURCE,0x01);
  BMP581_WriteReg(BMP581_INT_CONFIG,0x3A);

  BMP581_WriteReg(BMP581_OSR_CONFIG,0x40);
  BMP581_WriteReg(BMP581_ODR_CONFIG,0x81);

  return 0;
}

uint8_t BMP581_ReadReg(uint8_t reg_addr,uint8_t* reg_data)
{
  uint8_t spi2_tx_buf[2];
  spi2_tx_buf[0] = 0x80 | reg_addr;
  uint8_t spi2_rx_buf[2] = {0};
  HAL_GPIO_WritePin(GPIOB,GPIO_PIN_12,GPIO_PIN_RESET);
  if (HAL_SPI_TransmitReceive(&hspi2,spi2_tx_buf,spi2_rx_buf,2,1000)!=HAL_OK)
  {
    HAL_GPIO_WritePin(GPIOB,GPIO_PIN_12,GPIO_PIN_SET);
    return 1;
  }
  else
  {
    HAL_GPIO_WritePin(GPIOB,GPIO_PIN_12,GPIO_PIN_SET);
    *reg_data = spi2_rx_buf[1];
    return 0;
  }
}

uint8_t BMP581_WriteReg(uint8_t reg_addr,uint8_t reg_data)
{
  uint8_t spi2_tx_buf[2];
  uint8_t spi2_rx_buf[2];
  spi2_tx_buf[0] = 0x7F & reg_addr;
  spi2_tx_buf[1] = reg_data;
  HAL_GPIO_WritePin(GPIOB,GPIO_PIN_12,GPIO_PIN_RESET);
  if (HAL_SPI_TransmitReceive(&hspi2,spi2_tx_buf,spi2_rx_buf,2,1000)!=HAL_OK) {
    HAL_GPIO_WritePin(GPIOB,GPIO_PIN_12,GPIO_PIN_SET);
    return 1;
  }
  HAL_GPIO_WritePin(GPIOB,GPIO_PIN_12,GPIO_PIN_SET);
  return 0;
}
/* USER CODE END 4 */

 /* MPU Configuration */

void MPU_Config(void)
{
  MPU_Region_InitTypeDef MPU_InitStruct = {0};

  /* Disables the MPU */
  HAL_MPU_Disable();

  /** Initializes and configures the Region and the memory to be protected
  */
  MPU_InitStruct.Enable = MPU_REGION_ENABLE;
  MPU_InitStruct.Number = MPU_REGION_NUMBER0;
  MPU_InitStruct.BaseAddress = 0x0;
  MPU_InitStruct.Size = MPU_REGION_SIZE_4GB;
  MPU_InitStruct.SubRegionDisable = 0x87;
  MPU_InitStruct.TypeExtField = MPU_TEX_LEVEL0;
  MPU_InitStruct.AccessPermission = MPU_REGION_NO_ACCESS;
  MPU_InitStruct.DisableExec = MPU_INSTRUCTION_ACCESS_DISABLE;
  MPU_InitStruct.IsShareable = MPU_ACCESS_SHAREABLE;
  MPU_InitStruct.IsCacheable = MPU_ACCESS_NOT_CACHEABLE;
  MPU_InitStruct.IsBufferable = MPU_ACCESS_NOT_BUFFERABLE;

  HAL_MPU_ConfigRegion(&MPU_InitStruct);
  /* Enables the MPU */
  HAL_MPU_Enable(MPU_PRIVILEGED_DEFAULT);

}

void Error_Handler(void)
{
  /* USER CODE BEGIN Error_Handler_Debug */
  /* User can add his own implementation to report the HAL error return state */
  // __disable_irq();
  // while (1)
  // {
  // }
  /* USER CODE END Error_Handler_Debug */
}
